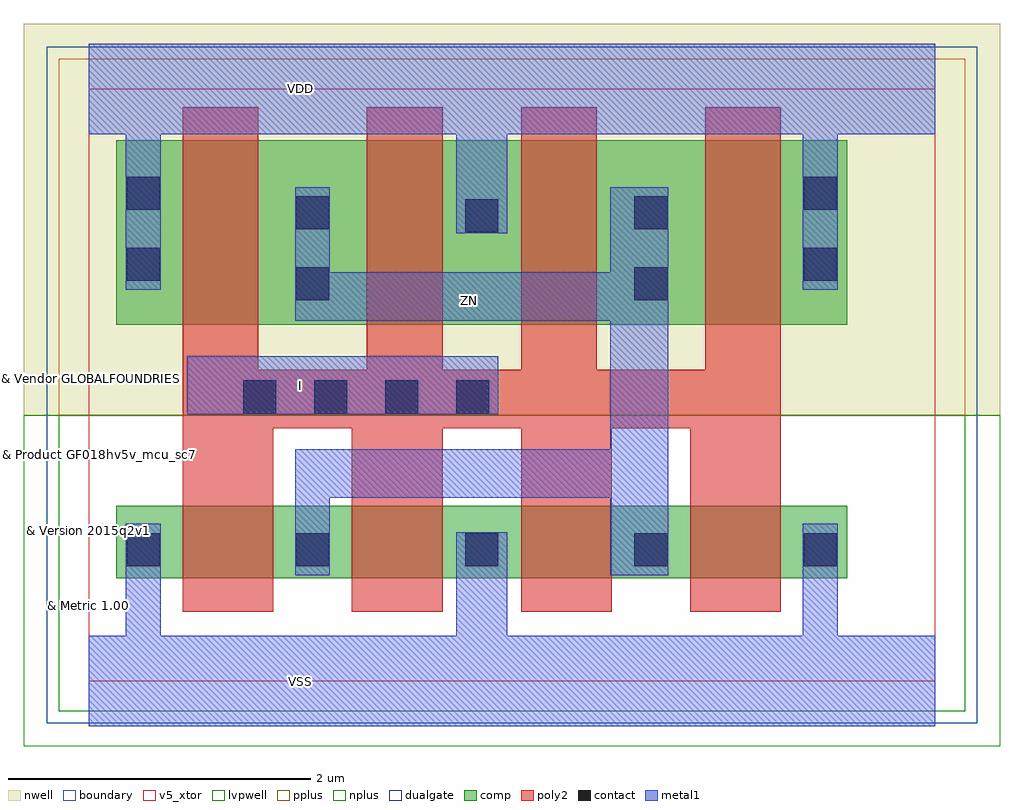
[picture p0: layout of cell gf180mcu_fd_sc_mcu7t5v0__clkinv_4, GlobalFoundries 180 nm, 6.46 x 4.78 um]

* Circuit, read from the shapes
.subckt gf180mcu_fd_sc_mcu7t5v0__clkinv_4 I VDD VSS ZN
XM1 ZN I VSS VSUBS nfet_05v0 w=0.48u l=0.6u m=4
XM2 ZN I VDD n1 pfet_05v0 w=1.22u l=0.5u m=4
.ends

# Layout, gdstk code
import gdstk
lib = gdstk.Library(unit=1e-6, precision=1e-09)
def R(c, l, rs):  # rectangles x0, y0, x1, y1
    for r in rs: c.add(gdstk.rectangle(r[:2], r[2:], *l))
def A(c, l, x, y, w, h, nx, ny, dx, dy):  # array of equal rectangles
    R(c, l, [(x+i*dx, y+j*dy, x+i*dx+w, y+j*dy+h) for i in range(nx) for j in range(ny)])
def P(c, l, *ps):  # polygons
    for p in ps: c.add(gdstk.Polygon(p, *l))
boundary = (0, 0)
nwell = (21, 0)
comp = (22, 0)
poly2 = (30, 0)
pplus = (31, 0)
nplus = (32, 0)
contact = (33, 0)
metal1 = (34, 0)
dualgate = (55, 0)
v5_xtor = (112, 1)
lvpwell = (204, 0)

gf180mcu_fd_sc_mcu7t5v0_ = lib.new_cell('gf180mcu_fd_sc_mcu7t5v0__clkinv_4')
R(gf180mcu_fd_sc_mcu7t5v0_, boundary, [(0,0,5.6,3.92)])
R(gf180mcu_fd_sc_mcu7t5v0_, nwell, [(-0.43,1.76,6.03,4.35)])
R(gf180mcu_fd_sc_mcu7t5v0_, comp, [(0.18,0.68,5.02,1.16), (0.18,2.36,5.02,3.58)])
P(gf180mcu_fd_sc_mcu7t5v0_, poly2, [(0.62,0.46),(0.62,3.8),(1.12,3.8),(1.12,2.06),(1.84,2.06),(1.84,3.8),(2.34,3.8),(2.34,2.06),(2.86,2.06),(2.86,3.8),(3.36,3.8),(3.36,2.06),(4.08,2.06),(4.08,3.8),(4.58,3.8),(4.58,0.46),(3.98,0.46),(3.98,1.675),(3.46,1.675),(3.46,0.46),(2.86,0.46),(2.86,1.675),(2.34,1.675),(2.34,0.46),(1.74,0.46),(1.74,1.675),(1.22,1.675),(1.22,0.46)])
R(gf180mcu_fd_sc_mcu7t5v0_, pplus, [(-0.2,1.76,5.8,4.12)])
R(gf180mcu_fd_sc_mcu7t5v0_, nplus, [(-0.2,-0.2,5.8,1.76)])
A(gf180mcu_fd_sc_mcu7t5v0_, contact, 0.25, 0.76, 0.22, 0.22, 5, 1, 1.12, 0)
A(gf180mcu_fd_sc_mcu7t5v0_, contact, 1.02, 1.77, 0.22, 0.22, 4, 1, 0.47, 0)
R(gf180mcu_fd_sc_mcu7t5v0_, contact, [(1.37,2.52,1.59,2.74), (3.61,2.52,3.83,2.74), (0.25,2.65,0.47,2.87), (4.73,2.65,4.95,2.87), (2.49,2.97,2.71,3.19), (1.37,2.99,1.59,3.21), (3.61,2.99,3.83,3.21), (0.25,3.12,0.47,3.34), (4.73,3.12,4.95,3.34)])
R(gf180mcu_fd_sc_mcu7t5v0_, metal1, [(0.65,1.765,2.71,2.15)])
P(gf180mcu_fd_sc_mcu7t5v0_, metal1, [(1.365,0.7),(1.365,1.535),(3.45,1.535),(3.45,2.385),(1.365,2.385),(1.365,3.27),(1.595,3.27),(1.595,2.705),(3.45,2.705),(3.45,3.27),(3.835,3.27),(3.835,0.7),(3.45,0.7),(3.45,1.215),(1.595,1.215),(1.595,0.7)],
  [(0,-0.3),(0,0.3),(0.245,0.3),(0.245,1.04),(0.475,1.04),(0.475,0.3),(2.43,0.3),(2.43,0.985),(2.77,0.985),(2.77,0.3),(4.725,0.3),(4.725,1.04),(4.955,1.04),(4.955,0.3),(5.6,0.3),(5.6,-0.3)],
  [(0.245,2.59),(0.245,3.62),(0,3.62),(0,4.22),(5.6,4.22),(5.6,3.62),(4.955,3.62),(4.955,2.59),(4.725,2.59),(4.725,3.62),(2.77,3.62),(2.77,2.965),(2.43,2.965),(2.43,3.62),(0.475,3.62),(0.475,2.59)])
R(gf180mcu_fd_sc_mcu7t5v0_, dualgate, [(-0.28,-0.28,5.88,4.2)])
R(gf180mcu_fd_sc_mcu7t5v0_, v5_xtor, [(0,0,5.6,3.92)])
R(gf180mcu_fd_sc_mcu7t5v0_, lvpwell, [(-0.43,-0.43,6.03,1.76)])
gf180mcu_fd_sc_mcu7t5v0_.add(gdstk.Label('VDD', (1.4,3.92), layer=34, texttype=10))
gf180mcu_fd_sc_mcu7t5v0_.add(gdstk.Label('VSS', (1.4,0), layer=34, texttype=10))
gf180mcu_fd_sc_mcu7t5v0_.add(gdstk.Label('ZN', (2.52,2.52), layer=34, texttype=10))
gf180mcu_fd_sc_mcu7t5v0_.add(gdstk.Label('I', (1.4,1.96), layer=34, texttype=10))
gf180mcu_fd_sc_mcu7t5v0_.add(gdstk.Label('& Vendor GLOBALFOUNDRIES', (0,2), layer=63, texttype=63))
gf180mcu_fd_sc_mcu7t5v0_.add(gdstk.Label('& Product GF018hv5v_mcu_sc7', (0,1.5), layer=63, texttype=63))
gf180mcu_fd_sc_mcu7t5v0_.add(gdstk.Label('& Version 2015q2v1', (0,1), layer=63, texttype=63))
gf180mcu_fd_sc_mcu7t5v0_.add(gdstk.Label('& Metric 1.00', (0,0.5), layer=63, texttype=63))

lib.write_gds('gf180mcu_fd_sc_mcu7t5v0__clkinv_4.gds')
